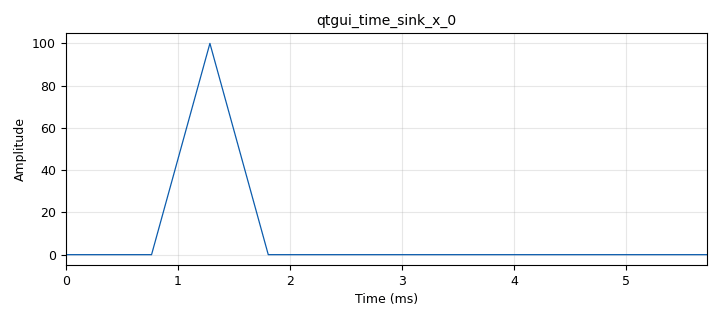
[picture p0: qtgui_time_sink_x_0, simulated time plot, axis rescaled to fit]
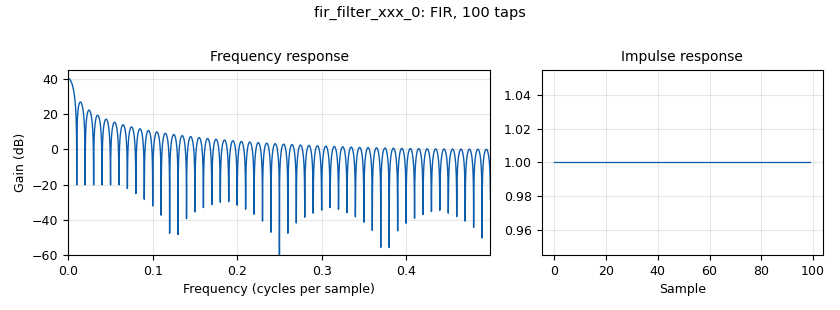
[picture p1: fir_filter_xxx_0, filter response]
options:
  parameters:
    author: p
    generate_options: qt_gui
    id: week8_lecture36_sync
    output_language: python
    title: Not titled yet
  states: {}

blocks:
- name: my_pulse
  id: variable
  parameters:
    value: '[1]*100'
  states: {}
- name: random_delay
  id: variable
  parameters:
    value: np.random.randint(0,50)
  states: {}
- name: samp_rate
  id: variable
  parameters:
    value: '192000'
  states: {}
- name: analog_const_source_x_0
  id: analog_const_source_x
  parameters:
    const: random_delay
    type: short
  states: {}
- name: blocks_delay_0
  id: blocks_delay
  parameters:
    delay: random_delay
    type: float
  states: {}
- name: blocks_throttle2_0
  id: blocks_throttle2
  parameters:
    samples_per_second: samp_rate
    type: float
  states: {}
- name: blocks_vector_source_x_0
  id: blocks_vector_source_x
  parameters:
    repeat: 'True'
    type: float
    vector: my_pulse+[0]*(1000-len(my_pulse))
  states: {}
- name: fir_filter_xxx_0
  id: fir_filter_xxx
  parameters:
    decim: '1'
    taps: my_pulse[::-1]
    type: fff
  states: {}
- name: import_0
  id: import
  parameters:
    imports: import numpy as np
  states: {}
- name: qtgui_number_sink_0
  id: qtgui_number_sink
  parameters:
    graph_type: qtgui.NUM_GRAPH_HORIZ
    max: '50'
    min: '0'
    type: short
  states: {}
- name: qtgui_time_sink_x_0
  id: qtgui_time_sink_x
  parameters:
    size: '1099'
    srate: samp_rate
    type: float
  states: {}

connections:
- [analog_const_source_x_0, '0', qtgui_number_sink_0, '0']
- [blocks_delay_0, '0', fir_filter_xxx_0, '0']
- [blocks_throttle2_0, '0', blocks_delay_0, '0']
- [blocks_vector_source_x_0, '0', blocks_throttle2_0, '0']
- [fir_filter_xxx_0, '0', qtgui_time_sink_x_0, '0']

metadata:
  file_format: 1
  grc_version: 3.10.7.0
